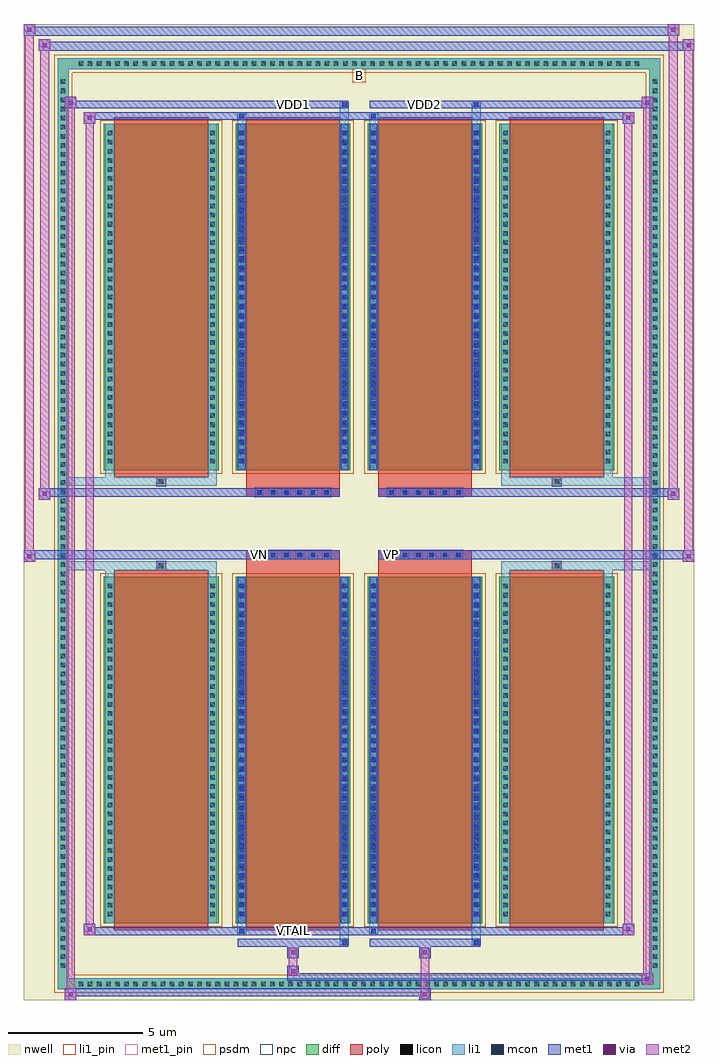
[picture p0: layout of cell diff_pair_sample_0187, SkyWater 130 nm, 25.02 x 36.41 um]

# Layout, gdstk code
import gdstk
lib = gdstk.Library(unit=1e-6, precision=5e-09)
def R(c, l, rs):  # rectangles x0, y0, x1, y1
    for r in rs: c.add(gdstk.rectangle(r[:2], r[2:], *l))
def A(c, l, x, y, w, h, nx, ny, dx, dy):  # array of equal rectangles
    R(c, l, [(x+i*dx, y+j*dy, x+i*dx+w, y+j*dy+h) for i in range(nx) for j in range(ny)])
def P(c, l, *ps):  # polygons
    for p in ps: c.add(gdstk.Polygon(p, *l))
nwell = (64, 20)
diff = (65, 20)
poly = (66, 20)
licon = (66, 44)
li1_pin = (67, 16)
li1 = (67, 20)
mcon = (67, 44)
met1_pin = (68, 16)
met1 = (68, 20)
via = (68, 44)
met2 = (69, 20)
psdm = (94, 20)
npc = (95, 20)

diff_pair_sample_0187 = lib.new_cell('diff_pair_sample_0187')
R(diff_pair_sample_0187, nwell, [(-12.51,-17.77,12.51,18.64), (-9.83,-15.96,-0.01,-0.8), (0.01,-15.96,9.83,-0.8), (-9.83,0.8,-0.01,15.96), (0.01,0.8,9.83,15.96)])
A(diff_pair_sample_0187, diff, -10.575, -17.37, 0.41, 0.41, 62, 2, 0.34, 34.33)
A(diff_pair_sample_0187, diff, -11.24, -16.695, 0.41, 0.41, 1, 98, 0, 0.34)
A(diff_pair_sample_0187, diff, 10.83, -16.695, 0.41, 0.41, 1, 98, 0, 0.34)
A(diff_pair_sample_0187, diff, -9.52, -14.915, 4.28, 12.93, 4, 2, 4.92, 16.9)
R(diff_pair_sample_0187, diff, [(-10.575,-17.37,10.575,-16.96), (-11.24,-16.695,-10.83,16.695), (10.83,-16.695,11.24,16.695), (-10.575,16.96,10.575,17.37)])
P(diff_pair_sample_0187, diff, [(11.24,17.37),(-11.24,17.37),(-11.24,-16.96),(-10.83,-16.96),(-10.83,16.96),(10.83,16.96),(10.83,-16.96),(-10.83,-16.96),(-11.24,-16.96),(-11.24,-17.37),(11.24,-17.37)])
A(diff_pair_sample_0187, poly, -9.13, -15.165, 3.5, 13.43, 4, 2, 4.92, 16.9)
A(diff_pair_sample_0187, poly, -3.875, -1.33, 0.33, 0.33, 6, 2, 0.5, 2.33)
A(diff_pair_sample_0187, poly, 1.045, -1.33, 0.33, 0.33, 6, 2, 0.5, 2.33)
R(diff_pair_sample_0187, poly, [(-7.545,-1.735,-7.215,-1.405), (-7.545,-1.735,-7.215,-1.405), (-4.21,-1.735,-0.71,-1.33), (0.71,-1.735,4.21,-1.33), (7.215,-1.735,7.545,-1.405), (7.215,-1.735,7.545,-1.405), (-4.21,-1.33,-0.71,-1), (0.71,-1.33,4.21,-1), (-4.21,1,-0.71,1.33), (0.71,1,4.21,1.33), (-4.21,1.33,-0.71,1.735), (0.71,1.33,4.21,1.735), (-7.545,1.405,-7.215,1.735), (-7.545,1.405,-7.215,1.735), (7.215,1.405,7.545,1.735), (7.215,1.405,7.545,1.735)])
A(diff_pair_sample_0187, licon, -10.455, -17.25, 0.17, 0.17, 62, 2, 0.34, 34.33)
A(diff_pair_sample_0187, licon, -11.12, -16.575, 0.17, 0.17, 1, 98, 0, 0.34)
A(diff_pair_sample_0187, licon, 10.95, -16.575, 0.17, 0.17, 1, 98, 0, 0.34)
A(diff_pair_sample_0187, licon, -9.38, -14.655, 0.17, 0.17, 1, 37, 0, 0.34)
A(diff_pair_sample_0187, licon, -5.55, -14.655, 0.17, 0.17, 1, 37, 0, 0.34)
A(diff_pair_sample_0187, licon, -4.46, -14.655, 0.17, 0.17, 1, 37, 0, 0.34)
A(diff_pair_sample_0187, licon, -0.63, -14.655, 0.17, 0.17, 1, 37, 0, 0.34)
A(diff_pair_sample_0187, licon, 0.46, -14.655, 0.17, 0.17, 1, 37, 0, 0.34)
A(diff_pair_sample_0187, licon, 4.29, -14.655, 0.17, 0.17, 1, 37, 0, 0.34)
A(diff_pair_sample_0187, licon, 5.38, -14.655, 0.17, 0.17, 1, 37, 0, 0.34)
A(diff_pair_sample_0187, licon, 9.21, -14.655, 0.17, 0.17, 1, 37, 0, 0.34)
A(diff_pair_sample_0187, licon, -3.795, -1.25, 0.17, 0.17, 6, 2, 0.5, 2.33)
A(diff_pair_sample_0187, licon, 1.125, -1.25, 0.17, 0.17, 6, 2, 0.5, 2.33)
A(diff_pair_sample_0187, licon, -9.38, 2.245, 0.17, 0.17, 1, 37, 0, 0.34)
A(diff_pair_sample_0187, licon, -5.55, 2.245, 0.17, 0.17, 1, 37, 0, 0.34)
A(diff_pair_sample_0187, licon, -4.46, 2.245, 0.17, 0.17, 1, 37, 0, 0.34)
A(diff_pair_sample_0187, licon, -0.63, 2.245, 0.17, 0.17, 1, 37, 0, 0.34)
A(diff_pair_sample_0187, licon, 0.46, 2.245, 0.17, 0.17, 1, 37, 0, 0.34)
A(diff_pair_sample_0187, licon, 4.29, 2.245, 0.17, 0.17, 1, 37, 0, 0.34)
A(diff_pair_sample_0187, licon, 5.38, 2.245, 0.17, 0.17, 1, 37, 0, 0.34)
A(diff_pair_sample_0187, licon, 9.21, 2.245, 0.17, 0.17, 1, 37, 0, 0.34)
R(diff_pair_sample_0187, licon, [(-7.465,-1.655,-7.295,-1.485), (7.295,-1.655,7.465,-1.485), (-7.465,1.485,-7.295,1.655), (7.295,1.485,7.465,1.655)])
R(diff_pair_sample_0187, li1_pin, [(-0.25,16.46,0.25,16.96)])
A(diff_pair_sample_0187, li1, -10.535, -17.33, 0.33, 0.33, 62, 2, 0.34, 34.33)
A(diff_pair_sample_0187, li1, -11.2, -16.655, 0.33, 0.33, 1, 98, 0, 0.34)
A(diff_pair_sample_0187, li1, 10.87, -16.655, 0.33, 0.33, 1, 98, 0, 0.34)
A(diff_pair_sample_0187, li1, -9.46, -14.735, 0.33, 0.33, 1, 37, 0, 0.34)
A(diff_pair_sample_0187, li1, -5.63, -14.735, 0.33, 0.33, 1, 37, 0, 0.34)
A(diff_pair_sample_0187, li1, -4.54, -14.735, 0.33, 0.33, 1, 37, 0, 0.34)
A(diff_pair_sample_0187, li1, -0.71, -14.735, 0.33, 0.33, 1, 37, 0, 0.34)
A(diff_pair_sample_0187, li1, 0.38, -14.735, 0.33, 0.33, 1, 37, 0, 0.34)
A(diff_pair_sample_0187, li1, 4.21, -14.735, 0.33, 0.33, 1, 37, 0, 0.34)
A(diff_pair_sample_0187, li1, 5.3, -14.735, 0.33, 0.33, 1, 37, 0, 0.34)
A(diff_pair_sample_0187, li1, 9.13, -14.735, 0.33, 0.33, 1, 37, 0, 0.34)
A(diff_pair_sample_0187, li1, -4.46, -14.655, 0.17, 0.17, 1, 35, 0, 0.36)
A(diff_pair_sample_0187, li1, -0.63, -14.655, 0.17, 0.17, 1, 35, 0, 0.36)
A(diff_pair_sample_0187, li1, 0.46, -14.655, 0.17, 0.17, 1, 35, 0, 0.36)
A(diff_pair_sample_0187, li1, 4.29, -14.655, 0.17, 0.17, 1, 35, 0, 0.36)
A(diff_pair_sample_0187, li1, -3.875, -1.33, 0.33, 0.33, 6, 2, 0.5, 2.33)
A(diff_pair_sample_0187, li1, 1.045, -1.33, 0.33, 0.33, 6, 2, 0.5, 2.33)
A(diff_pair_sample_0187, li1, -9.46, 2.165, 0.33, 0.33, 1, 37, 0, 0.34)
A(diff_pair_sample_0187, li1, -5.63, 2.165, 0.33, 0.33, 1, 37, 0, 0.34)
A(diff_pair_sample_0187, li1, -4.54, 2.165, 0.33, 0.33, 1, 37, 0, 0.34)
A(diff_pair_sample_0187, li1, -0.71, 2.165, 0.33, 0.33, 1, 37, 0, 0.34)
A(diff_pair_sample_0187, li1, 0.38, 2.165, 0.33, 0.33, 1, 37, 0, 0.34)
A(diff_pair_sample_0187, li1, 4.21, 2.165, 0.33, 0.33, 1, 37, 0, 0.34)
A(diff_pair_sample_0187, li1, 5.3, 2.165, 0.33, 0.33, 1, 37, 0, 0.34)
A(diff_pair_sample_0187, li1, 9.13, 2.165, 0.33, 0.33, 1, 37, 0, 0.34)
A(diff_pair_sample_0187, li1, -4.46, 2.245, 0.17, 0.17, 1, 35, 0, 0.36)
A(diff_pair_sample_0187, li1, -0.63, 2.245, 0.17, 0.17, 1, 35, 0, 0.36)
A(diff_pair_sample_0187, li1, 0.46, 2.245, 0.17, 0.17, 1, 35, 0, 0.36)
A(diff_pair_sample_0187, li1, 4.29, 2.245, 0.17, 0.17, 1, 35, 0, 0.36)
R(diff_pair_sample_0187, li1, [(-11.24,-17.37,-10.83,-16.96), (-11.24,-17.37,-10.83,-16.96), (-10.83,-17.37,10.83,-16.96), (10.83,-17.37,11.24,-16.96), (10.83,-17.37,11.24,-16.96), (-11.24,-16.96,-10.83,16.96), (10.83,-16.96,11.24,16.96), (-0.71,-15.72,-0.38,-14.915), (-0.63,-15.72,-0.46,-15.55), (4.21,-15.72,4.54,-14.915), (4.29,-15.72,4.46,-15.55), (-4.54,-15.29,-4.21,-14.915), (-4.46,-15.29,-4.29,-15.12), (0.38,-15.29,0.71,-14.915), (0.46,-15.29,0.63,-15.12), (-9.46,-14.915,-9.13,-1.985), (-5.63,-14.915,-5.3,-1.985), (-4.54,-14.915,-4.21,-1.985), (-0.71,-14.915,-0.38,-1.985), (0.38,-14.915,0.71,-1.985), (4.21,-14.915,4.54,-1.985), (5.3,-14.915,5.63,-1.985), (9.13,-14.915,9.46,-1.985), (-4.46,-14.655,-4.29,-2.245), (-0.63,-14.655,-0.46,-2.245), (0.46,-14.655,0.63,-2.245), (4.29,-14.655,4.46,-2.245), (-9.46,-1.985,-9.13,-1.405), (-5.63,-1.985,-5.3,-1.405), (5.3,-1.985,5.63,-1.405), (9.13,-1.985,9.46,-1.405), (-11.24,-1.735,-7.545,-1.405), (-9.46,-1.735,-7.545,-1.405), (-7.545,-1.735,-7.215,-1.405), (-7.215,-1.735,-5.3,-1.405), (5.3,-1.735,7.215,-1.405), (7.215,-1.735,7.545,-1.405), (7.215,-1.735,11.24,-1.405), (7.545,-1.735,9.46,-1.405), (-11.24,1.405,-7.545,1.735), (-9.46,1.405,-7.545,1.735), (-9.46,1.405,-9.13,1.985), (-7.545,1.405,-7.215,1.735), (-7.215,1.405,-5.3,1.735), (-5.63,1.405,-5.3,1.985), (5.3,1.405,7.215,1.735), (5.3,1.405,5.63,1.985), (7.215,1.405,7.545,1.735), (7.215,1.405,11.24,1.735), (7.545,1.405,9.46,1.735), (9.13,1.405,9.46,1.985), (-9.46,1.985,-9.13,14.915), (-5.63,1.985,-5.3,14.915), (-4.54,1.985,-4.21,14.915), (-0.71,1.985,-0.38,14.915), (0.38,1.985,0.71,14.915), (4.21,1.985,4.54,14.915), (5.3,1.985,5.63,14.915), (9.13,1.985,9.46,14.915), (-4.46,2.245,-4.29,14.655), (-0.63,2.245,-0.46,14.655), (0.46,2.245,0.63,14.655), (4.29,2.245,4.46,14.655), (-4.54,14.915,-4.21,15.29), (-0.71,14.915,-0.38,15.72), (0.38,14.915,0.71,15.29), (4.21,14.915,4.54,15.72), (-4.46,15.12,-4.29,15.29), (0.46,15.12,0.63,15.29), (-0.63,15.55,-0.46,15.72), (4.29,15.55,4.46,15.72), (-11.24,16.96,-10.83,17.37), (-11.24,16.96,-10.83,17.37), (-10.83,16.96,10.83,17.37), (10.83,16.96,11.24,17.37), (10.83,16.96,11.24,17.37)])
A(diff_pair_sample_0187, mcon, -4.46, -14.655, 0.17, 0.17, 1, 35, 0, 0.36)
A(diff_pair_sample_0187, mcon, -0.63, -14.655, 0.17, 0.17, 1, 35, 0, 0.36)
A(diff_pair_sample_0187, mcon, 0.46, -14.655, 0.17, 0.17, 1, 35, 0, 0.36)
A(diff_pair_sample_0187, mcon, 4.29, -14.655, 0.17, 0.17, 1, 35, 0, 0.36)
A(diff_pair_sample_0187, mcon, -3.795, -1.25, 0.17, 0.17, 6, 2, 0.5, 2.33)
A(diff_pair_sample_0187, mcon, 1.125, -1.25, 0.17, 0.17, 6, 2, 0.5, 2.33)
A(diff_pair_sample_0187, mcon, -4.46, 2.245, 0.17, 0.17, 1, 35, 0, 0.36)
A(diff_pair_sample_0187, mcon, -0.63, 2.245, 0.17, 0.17, 1, 35, 0, 0.36)
A(diff_pair_sample_0187, mcon, 0.46, 2.245, 0.17, 0.17, 1, 35, 0, 0.36)
A(diff_pair_sample_0187, mcon, 4.29, 2.245, 0.17, 0.17, 1, 35, 0, 0.36)
R(diff_pair_sample_0187, mcon, [(-0.63,-15.72,-0.46,-15.55), (4.29,-15.72,4.46,-15.55), (-4.46,-15.29,-4.29,-15.12), (0.46,-15.29,0.63,-15.12), (-4.46,15.12,-4.29,15.29), (0.46,15.12,0.63,15.29), (-0.63,15.55,-0.46,15.72), (4.29,15.55,4.46,15.72)])
R(diff_pair_sample_0187, met1_pin, [(-2.595,-15.33,-2.325,-15.06), (-3.845,-1.29,-3.575,-1.02), (1.075,-1.29,1.345,-1.02), (-2.595,15.51,-2.325,15.78), (2.325,15.51,2.595,15.78)])
A(diff_pair_sample_0187, met1, -4.52, -14.715, 0.29, 0.29, 1, 35, 0, 0.36)
A(diff_pair_sample_0187, met1, -0.69, -14.715, 0.29, 0.29, 1, 35, 0, 0.36)
A(diff_pair_sample_0187, met1, 0.4, -14.715, 0.29, 0.29, 1, 35, 0, 0.36)
A(diff_pair_sample_0187, met1, 4.23, -14.715, 0.29, 0.29, 1, 35, 0, 0.36)
A(diff_pair_sample_0187, met1, -3.855, -1.31, 0.29, 0.29, 6, 2, 0.5, 2.33)
A(diff_pair_sample_0187, met1, 1.065, -1.31, 0.29, 0.29, 6, 2, 0.5, 2.33)
A(diff_pair_sample_0187, met1, -4.52, 2.185, 0.29, 0.29, 1, 35, 0, 0.36)
A(diff_pair_sample_0187, met1, -0.69, 2.185, 0.29, 0.29, 1, 35, 0, 0.36)
A(diff_pair_sample_0187, met1, 0.4, 2.185, 0.29, 0.29, 1, 35, 0, 0.36)
A(diff_pair_sample_0187, met1, 4.23, 2.185, 0.29, 0.29, 1, 35, 0, 0.36)
R(diff_pair_sample_0187, met1, [(-10.97,-17.77,-10.54,-17.34), (2.245,-17.77,2.675,-17.34), (-10.97,-17.63,2.675,-17.34), (10.54,-17.2,10.97,-16.77), (-2.675,-17.06,10.97,-16.77), (-2.675,-16.92,-2.245,-16.49), (-2.675,-16.21,-2.245,-15.78), (2.245,-16.21,2.675,-15.78), (-4.52,-15.78,-0.4,-15.49), (-0.69,-15.78,-0.4,-15.49), (0.4,-15.78,4.52,-15.49), (4.23,-15.78,4.52,-15.49), (-10.26,-15.35,-9.83,-14.92), (-10.26,-15.35,-4.52,-15.06), (-4.52,-15.35,-4.23,-15.06), (-4.52,-15.35,-0.4,-15.06), (-0.4,-15.35,0.4,-15.06), (0.4,-15.35,0.69,-15.06), (0.4,-15.35,4.52,-15.06), (4.52,-15.35,10.26,-15.06), (9.83,-15.35,10.26,-14.92), (-4.52,-14.915,-4.23,-1.985), (-0.69,-14.915,-0.4,-1.985), (0.4,-14.915,0.69,-1.985), (4.23,-14.915,4.52,-1.985), (-12.51,-1.43,-12.08,-1), (12.08,-1.43,12.51,-1), (-12.51,-1.33,-0.71,-1), (-4.21,-1.33,-0.71,-1), (0.71,-1.33,4.21,-1), (0.71,-1.33,12.51,-1), (-11.94,0.9,-11.51,1.33), (11.51,0.9,11.94,1.33), (-11.94,1,-4.21,1.33), (-4.21,1,-0.71,1.33), (0.71,1,4.21,1.33), (4.21,1,11.94,1.33), (-4.52,1.985,-4.23,14.915), (-0.69,1.985,-0.4,14.915), (0.4,1.985,0.69,14.915), (4.23,1.985,4.52,14.915), (-10.26,14.92,-9.83,15.35), (9.83,14.92,10.26,15.35), (-10.26,15.06,-4.52,15.35), (-4.52,15.06,-4.23,15.35), (-4.52,15.06,-0.4,15.35), (-0.4,15.06,0.4,15.35), (0.4,15.06,0.69,15.35), (0.4,15.06,4.52,15.35), (4.52,15.06,10.26,15.35), (-10.97,15.49,-10.54,15.92), (-10.97,15.49,-4.52,15.78), (-4.52,15.49,-0.4,15.78), (-0.69,15.49,-0.4,15.78), (0.4,15.49,4.52,15.78), (4.23,15.49,4.52,15.78), (4.52,15.49,10.97,15.78), (10.54,15.49,10.97,15.92), (-11.94,17.64,-11.51,18.07), (-11.94,17.64,-9.83,17.97), (-9.83,17.64,9.83,17.97), (9.83,17.64,12.51,17.97), (12.08,17.64,12.51,18.07), (-12.51,18.21,-12.08,18.64), (-12.51,18.21,-9.83,18.54), (-9.83,18.21,9.83,18.54), (9.83,18.21,11.94,18.54), (11.51,18.21,11.94,18.64)])
R(diff_pair_sample_0187, via, [(-10.83,-17.63,-10.68,-17.48), (2.385,-17.63,2.535,-17.48), (10.68,-17.06,10.83,-16.91), (-2.535,-16.78,-2.385,-16.63), (-2.535,-16.07,-2.385,-15.92), (2.385,-16.07,2.535,-15.92), (-10.12,-15.21,-9.97,-15.06), (9.97,-15.21,10.12,-15.06), (-12.37,-1.29,-12.22,-1.14), (12.22,-1.29,12.37,-1.14), (-11.8,1.04,-11.65,1.19), (11.65,1.04,11.8,1.19), (-10.12,15.06,-9.97,15.21), (9.97,15.06,10.12,15.21), (-10.83,15.63,-10.68,15.78), (10.68,15.63,10.83,15.78), (-11.8,17.78,-11.65,17.93), (12.22,17.78,12.37,17.93), (-12.37,18.35,-12.22,18.5), (11.65,18.35,11.8,18.5)])
R(diff_pair_sample_0187, met2, [(-10.97,-17.77,-10.54,-17.34), (-10.9,-17.77,-10.61,15.92), (-10.61,-17.77,-10.54,-17.34), (-10.92,-17.72,-10.59,-17.39), (2.295,-17.72,2.625,-17.39), (2.295,-17.39,2.625,-16.16), (10.54,-17.2,10.97,-16.77), (10.61,-17.2,10.9,15.92), (10.9,-17.2,10.97,-16.77), (10.59,-17.15,10.92,-16.82), (-2.625,-16.87,-2.295,-16.54), (-2.625,-16.54,-2.295,-16.16), (-2.625,-16.16,-2.295,-15.83), (2.295,-16.16,2.625,-15.83), (-10.26,-15.35,-9.83,-14.92), (-10.19,-15.35,-9.9,15.35), (-9.9,-15.35,-9.83,-14.92), (9.83,-15.35,10.26,-14.92), (9.9,-15.35,10.19,15.35), (10.19,-15.35,10.26,-14.92), (-10.21,-15.3,-9.88,-14.97), (9.88,-15.3,10.21,-14.97), (-12.51,-1.43,-12.08,-1), (-12.46,-1.43,-12.13,18.64), (-12.13,-1.43,-12.08,-1), (12.08,-1.43,12.51,-1), (12.13,-1.43,12.46,18.07), (12.46,-1.43,12.51,-1), (-12.46,-1.38,-12.13,-1.05), (12.13,-1.38,12.46,-1.05), (-11.94,0.9,-11.51,1.33), (-11.89,0.9,-11.56,18.07), (-11.56,0.9,-11.51,1.33), (11.51,0.9,11.94,1.33), (11.56,0.9,11.89,18.64), (11.89,0.9,11.94,1.33), (-11.89,0.95,-11.56,1.28), (11.56,0.95,11.89,1.28), (-10.26,14.92,-9.83,15.35), (-9.9,14.92,-9.83,15.35), (9.83,14.92,10.26,15.35), (10.19,14.92,10.26,15.35), (-10.21,14.97,-9.88,15.3), (9.88,14.97,10.21,15.3), (-10.97,15.49,-10.54,15.92), (-10.61,15.49,-10.54,15.92), (10.54,15.49,10.97,15.92), (10.9,15.49,10.97,15.92), (-10.92,15.54,-10.59,15.87), (10.59,15.54,10.92,15.87), (-11.94,17.64,-11.51,18.07), (-11.56,17.64,-11.51,18.07), (12.08,17.64,12.51,18.07), (12.46,17.64,12.51,18.07), (-11.89,17.69,-11.56,18.02), (12.13,17.69,12.46,18.02), (-12.51,18.21,-12.08,18.64), (-12.13,18.21,-12.08,18.64), (11.51,18.21,11.94,18.64), (11.89,18.21,11.94,18.64), (-12.46,18.26,-12.13,18.59), (11.56,18.26,11.89,18.59)])
A(diff_pair_sample_0187, psdm, -9.65, -15.045, 4.54, 13.19, 4, 2, 4.92, 16.9)
P(diff_pair_sample_0187, psdm, [(11.37,17.5),(-11.37,17.5),(-11.37,-16.83),(-10.7,-16.83),(-10.7,16.83),(10.7,16.83),(10.7,-16.83),(-10.7,-16.83),(-11.37,-16.83),(-11.37,-17.5),(11.37,-17.5)])
A(diff_pair_sample_0187, npc, -3.895, -1.35, 0.37, 0.37, 6, 2, 0.5, 2.33)
A(diff_pair_sample_0187, npc, 1.025, -1.35, 0.37, 0.37, 6, 2, 0.5, 2.33)
R(diff_pair_sample_0187, npc, [(-7.565,-1.755,-7.195,-1.385), (7.195,-1.755,7.565,-1.385), (-3.895,-1.35,-3.025,-0.98), (-3.895,-1.35,-3.025,-0.98), (-3.395,-1.35,-2.525,-0.98), (-3.395,-1.35,-2.525,-0.98), (-2.895,-1.35,-2.025,-0.98), (-2.895,-1.35,-2.025,-0.98), (-2.395,-1.35,-1.525,-0.98), (-2.395,-1.35,-1.525,-0.98), (-1.895,-1.35,-1.025,-0.98), (-1.895,-1.35,-1.025,-0.98), (1.025,-1.35,1.895,-0.98), (1.025,-1.35,1.895,-0.98), (1.525,-1.35,2.395,-0.98), (1.525,-1.35,2.395,-0.98), (2.025,-1.35,2.895,-0.98), (2.025,-1.35,2.895,-0.98), (2.525,-1.35,3.395,-0.98), (2.525,-1.35,3.395,-0.98), (3.025,-1.35,3.895,-0.98), (3.025,-1.35,3.895,-0.98), (-3.895,0.98,-3.025,1.35), (-3.895,0.98,-3.025,1.35), (-3.395,0.98,-2.525,1.35), (-3.395,0.98,-2.525,1.35), (-2.895,0.98,-2.025,1.35), (-2.895,0.98,-2.025,1.35), (-2.395,0.98,-1.525,1.35), (-2.395,0.98,-1.525,1.35), (-1.895,0.98,-1.025,1.35), (-1.895,0.98,-1.025,1.35), (1.025,0.98,1.895,1.35), (1.025,0.98,1.895,1.35), (1.525,0.98,2.395,1.35), (1.525,0.98,2.395,1.35), (2.025,0.98,2.895,1.35), (2.025,0.98,2.895,1.35), (2.525,0.98,3.395,1.35), (2.525,0.98,3.395,1.35), (3.025,0.98,3.895,1.35), (3.025,0.98,3.895,1.35), (-7.565,1.385,-7.195,1.755), (7.195,1.385,7.565,1.755)])
diff_pair_sample_0187.add(gdstk.Label('VTAIL', (-2.46,-15.195), layer=68, texttype=5))
diff_pair_sample_0187.add(gdstk.Label('VN', (-3.71,-1.155), layer=68, texttype=5))
diff_pair_sample_0187.add(gdstk.Label('VP', (1.21,-1.155), layer=68, texttype=5))
diff_pair_sample_0187.add(gdstk.Label('B', (0,16.71), layer=67, texttype=5))
diff_pair_sample_0187.add(gdstk.Label('VDD2', (2.46,15.645), layer=68, texttype=5))
diff_pair_sample_0187.add(gdstk.Label('VDD1', (-2.46,15.645), layer=68, texttype=5))

lib.write_gds('diff_pair_sample_0187.gds')
